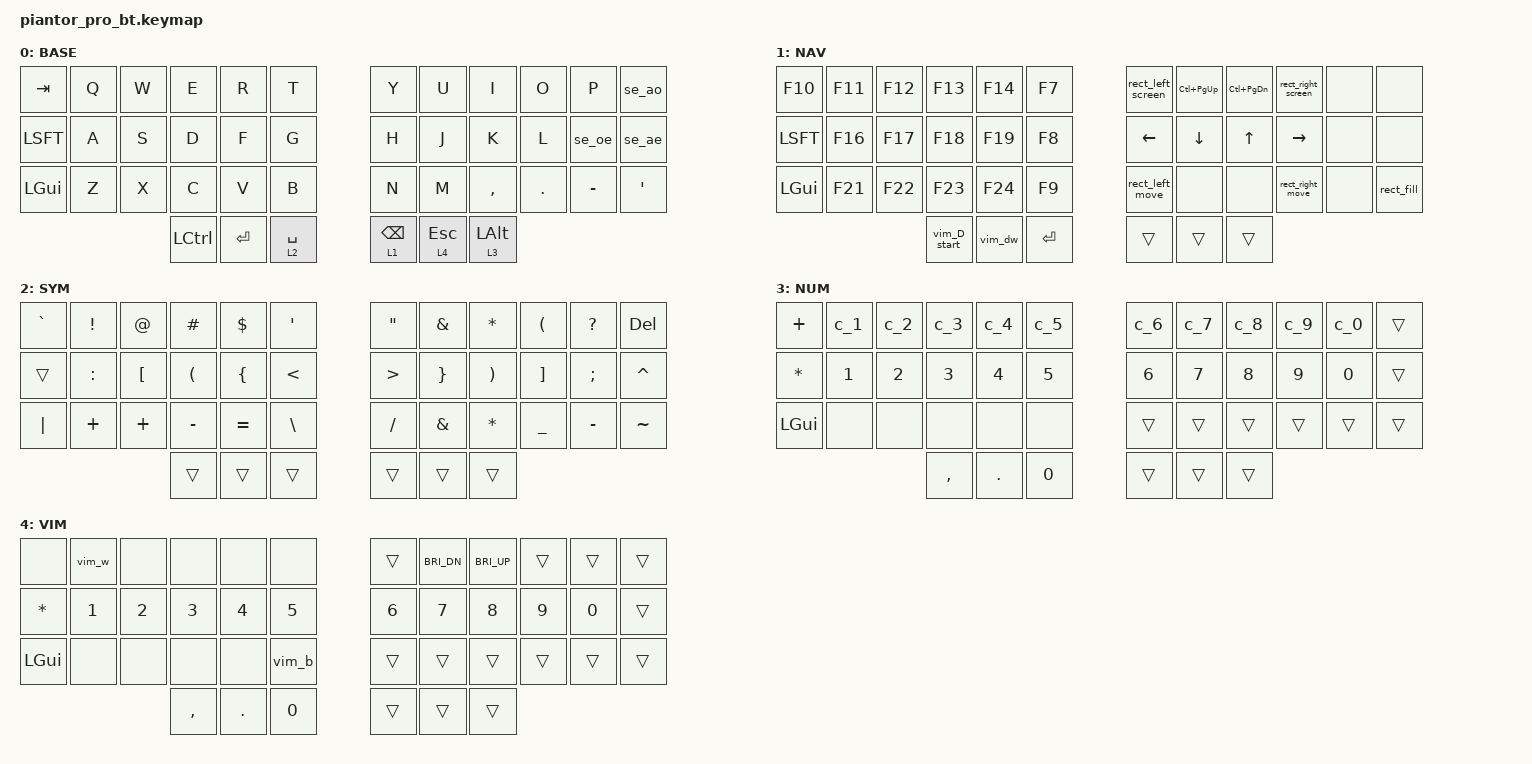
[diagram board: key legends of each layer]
#include <behaviors.dtsi>
#include <dt-bindings/zmk/keys.h>
#include <dt-bindings/zmk/bt.h>

#define HYPER LS(LC(LA(LGUI)))

// 1. GLOBAL OVERRIDES (Must be outside the / { } block)
&lt {
    tapping-term-ms = <175>;
    flavor = "balanced";
    quick-tap-ms = <175>;
};

/ {
    macros {
        // SWEDISH CHARACTER MACROS (For Mac USA Input Source)
        se_ao: se_ao {
            compatible = "zmk,behavior-macro";
            #binding-cells = <0>;
            bindings = <&kp LA(A)>;
        };
        se_oe: se_oe {
            compatible = "zmk,behavior-macro";
            #binding-cells = <0>;
            bindings = <&macro_press &kp LALT>, <&macro_tap &kp U>, <&macro_release &kp LALT>, <&macro_tap &kp O>;
        };
        se_ae: se_ae {
            compatible = "zmk,behavior-macro";
            #binding-cells = <0>;
            bindings = <&macro_press &kp LALT>, <&macro_tap &kp U>, <&macro_release &kp LALT>, <&macro_tap &kp A>;
        };
// Command + Number Macros
        c_1: c_1 { compatible = "zmk,behavior-macro"; #binding-cells = <0>; bindings = <&macro_press &kp LGUI>, <&macro_tap &kp N1>, <&macro_release &kp LGUI>; };
        c_2: c_2 { compatible = "zmk,behavior-macro"; #binding-cells = <0>; bindings = <&macro_press &kp LGUI>, <&macro_tap &kp N2>, <&macro_release &kp LGUI>; };
        c_3: c_3 { compatible = "zmk,behavior-macro"; #binding-cells = <0>; bindings = <&macro_press &kp LGUI>, <&macro_tap &kp N3>, <&macro_release &kp LGUI>; };
        c_4: c_4 { compatible = "zmk,behavior-macro"; #binding-cells = <0>; bindings = <&macro_press &kp LGUI>, <&macro_tap &kp N4>, <&macro_release &kp LGUI>; };
        c_5: c_5 { compatible = "zmk,behavior-macro"; #binding-cells = <0>; bindings = <&macro_press &kp LGUI>, <&macro_tap &kp N5>, <&macro_release &kp LGUI>; };
        c_6: c_6 { compatible = "zmk,behavior-macro"; #binding-cells = <0>; bindings = <&macro_press &kp LGUI>, <&macro_tap &kp N6>, <&macro_release &kp LGUI>; };
        c_7: c_7 { compatible = "zmk,behavior-macro"; #binding-cells = <0>; bindings = <&macro_press &kp LGUI>, <&macro_tap &kp N7>, <&macro_release &kp LGUI>; };
        c_8: c_8 { compatible = "zmk,behavior-macro"; #binding-cells = <0>; bindings = <&macro_press &kp LGUI>, <&macro_tap &kp N8>, <&macro_release &kp LGUI>; };
        c_9: c_9 { compatible = "zmk,behavior-macro"; #binding-cells = <0>; bindings = <&macro_press &kp LGUI>, <&macro_tap &kp N9>, <&macro_release &kp LGUI>; };
        c_0: c_0 { compatible = "zmk,behavior-macro"; #binding-cells = <0>; bindings = <&macro_press &kp LGUI>, <&macro_tap &kp N0>, <&macro_release &kp LGUI>; };

        // VIM & RECTANGLE MACROS
        vim_D_start: vim_D_start {
            compatible = "zmk,behavior-macro";
            #binding-cells = <0>;
            bindings = <&kp LG(BSPC)>;
        };
        vim_dw: vim_dw {
            compatible = "zmk,behavior-macro";
            #binding-cells = <0>;
            bindings = <&kp LA(BSPC)>;
        };
        vim_w: vim_w {
            compatible = "zmk,behavior-macro";
            #binding-cells = <0>;
            bindings = <&kp LA(RIGHT)>; // Move word forward
        };
        vim_b: vim_b {
            compatible = "zmk,behavior-macro";
            #binding-cells = <0>;
            bindings = <&kp LA(LEFT)>;  // Move word back
        };
        vim_select_row_down: vim_select_row_down {
            compatible = "zmk,behavior-macro";
            #binding-cells = <0>;
            // Move to start of line, then select to end of line + next line
            bindings = <&kp LG(LEFT)>, <&macro_press &kp LSFT>, <&kp DOWN &kp LG(RIGHT)>, <&macro_release &kp LSFT>;
        };
        vim_select_row_up: vim_select_row_up {
            compatible = "zmk,behavior-macro";
            #binding-cells = <0>;
            // Move to start of line, then select to end of line + previous line
            bindings = <&kp LG(LEFT)>, <&macro_press &kp LSFT>, <&kp UP &kp LG(RIGHT)>, <&macro_release &kp LSFT>;
        };

        // Rectangle macros 
        rect_left_move: rect_left_move {
            compatible = "zmk,behavior-macro";
            #binding-cells = <0>;
            bindings = <&macro_press &kp LCTRL &kp LALT>, <&macro_tap &kp LEFT>, <&macro_release &kp LCTRL &kp LALT>;
        };
        rect_right_move: rect_right_move {
            compatible = "zmk,behavior-macro";
            #binding-cells = <0>;
            bindings = <&macro_press &kp LCTRL &kp LALT>, <&macro_tap &kp RIGHT>, <&macro_release &kp LCTRL &kp LALT>;
        };
        rect_fill: rect_fill {
            compatible = "zmk,behavior-macro";
            #binding-cells = <0>;
            bindings = <&macro_press &kp LCTRL &kp LALT>, <&macro_tap &kp RET>, <&macro_release &kp LCTRL &kp LALT>;
        };
        rect_left_screen: rect_left_screen {
            compatible = "zmk,behavior-macro";
            #binding-cells = <0>;
            bindings = <&macro_press &kp LCTRL &kp LALT &kp LGUI>, <&macro_tap &kp LEFT>, <&macro_release &kp LCTRL &kp LALT &kp LGUI>;
        };
        rect_right_screen: rect_right_screen {
            compatible = "zmk,behavior-macro";
            #binding-cells = <0>;
            bindings = <&macro_press &kp LCTRL &kp LALT &kp LGUI>, <&macro_tap &kp RIGHT>, <&macro_release &kp LCTRL &kp LALT &kp LGUI>;
        };
    };

    behaviors {
        hp_esc: hyper_escape {
            compatible = "zmk,behavior-hold-tap";
            #binding-cells = <2>;
            flavor = "tap-preferred";
            tapping-term-ms = <150>;
            bindings = <&kp>, <&kp>;
        };
    };

    keymap {
        compatible = "zmk,keymap";

        default_layer {
            display-name = "BASE";
            bindings = <
&kp TAB    &kp Q  &kp W  &kp E      &kp R      &kp T        &kp Y  &kp U  &kp I      &kp O    &kp P    &se_ao
&kp LSFT   &kp A  &kp S  &kp D      &kp F      &kp G        &kp H  &kp J  &kp K      &kp L    &se_oe   &se_ae
&kp LGUI   &kp Z  &kp X  &kp C      &kp V      &kp B        &kp N  &kp M  &kp COMMA  &kp DOT  &kp MINUS &kp SQT
                         &kp LCTRL  &kp RET   &lt 2 SPACE  &lt 1 BSPC &lt 4 ESC &lt 3 LALT
            >;
        };

        nav_layer {
            display-name = "NAV";
            bindings = <
&kp F10    &kp F11  &kp F12  &kp F13      &kp F14       &kp F7           &rect_left_screen  &kp LC(PG_UP)  &kp LC(PG_DN)  &rect_right_screen  &none       &none
&kp LSFT    &kp F16  &kp F17  &kp F18      &kp F19       &kp F8           &kp LEFT           &kp DOWN       &kp UP         &kp RIGHT           &none       &none
 &kp LGUI    &kp F21  &kp F22  &kp F23      &kp F24       &kp F9           &rect_left_move    &none          &none          &rect_right_move    &none       &rect_fill
                             &vim_D_start &vim_dw       &kp RET          &trans             &trans         &trans
            >;
        };

        symbol_layer {
            display-name = "SYM";
            bindings = <
&kp GRAVE  &kp EXCL  &kp AT    &kp HASH   &kp DLLR   &kp SQT    &kp DQT  &kp AMPS   &kp ASTRK  &kp LPAR   &kp QMARK  &kp DEL
&trans     &kp COLON &kp LBKT  &kp LPAR   &kp LBRC   &kp LT     &kp GT     &kp RBRC   &kp RPAR   &kp RBKT   &kp SEMI   &kp CARET
&kp PIPE   &kp PLUS  &kp PLUS  &kp MINUS  &kp EQUAL  &kp BSLH   &kp FSLH   &kp AMPS   &kp STAR   &kp UNDER  &kp MINUS  &kp TILDE
                               &trans     &trans     &trans     &trans     &trans     &trans
            >;
        };

        num_layer {
            display-name = "NUM";
            bindings = <
&kp PLUS   &c_1     &c_2     &c_3     &c_4     &c_5       &c_6     &c_7     &c_8     &c_9     &c_0     &trans
&kp ASTRK  &kp N1   &kp N2   &kp N3   &kp N4   &kp N5     &kp N6   &kp N7   &kp N8   &kp N9   &kp N0   &trans
&kp LGUI   &none    &none    &none    &none    &none      &trans   &trans   &trans   &trans   &trans   &trans
                             &kp COMMA &kp DOT &kp N0     &trans   &trans   &trans
            >;
        };

        web_layer {
            display-name = "VIM";
            bindings = <
&none      &vim_w  &none   &none   &none   &none      &trans      &kp C_BRI_DN  &kp C_BRI_UP  &trans      &trans    &trans
&kp ASTRK  &kp N1     &kp N2  &kp N3  &kp N4  &kp N5     &kp N6  &kp N7  &kp N8  &kp N9  &kp N0  &trans
&kp LGUI   &none      &none   &none   &none   &vim_b     &trans      &trans        &trans        &trans      &trans    &trans
                              &kp COMMA  &kp DOT  &kp N0  &trans      &trans        &trans
            >;
        };
    };
};
